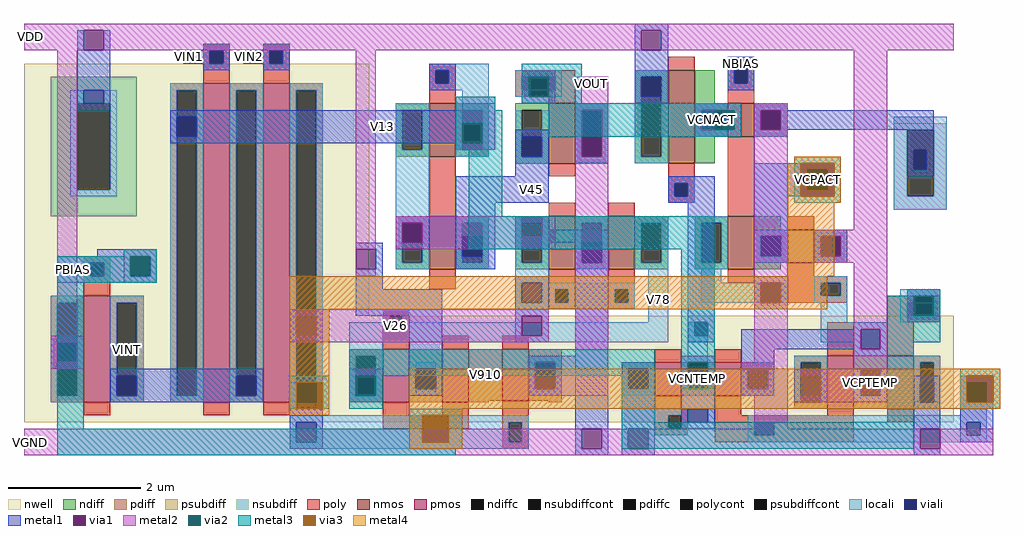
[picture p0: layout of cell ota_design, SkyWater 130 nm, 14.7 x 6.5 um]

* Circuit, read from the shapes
.subckt ota_design VDD VIN1 VIN2 VGND VOUT PBIAS NBIAS
XM1 V45 V13 VGND VGND sky130_fd_pr__nfet_01v8 w=0.8 l=0.4
XM2 V13 V13 VGND VGND sky130_fd_pr__nfet_01v8 w=0.8 l=0.4
XM3 VGND V26 V26 VGND sky130_fd_pr__nfet_01v8 w=0.8 l=0.4
XM4 VOUT VCNACT V45 VGND sky130_fd_pr__nfet_01v8 w=0.91 l=0.4
XM5 V78 V26 VGND VGND sky130_fd_pr__nfet_01v8 w=0.8 l=0.4
XM6 VCNACT VCNTEMP VDD VGND sky130_fd_pr__nfet_01v8 w=1.4 l=0.4
XM7 VCPACT NBIAS VGND VGND sky130_fd_pr__nfet_01v8 w=0.8 l=0.4
XM8 VGND NBIAS VCNACT VGND sky130_fd_pr__nfet_01v8 w=0.5 l=0.4
XM9 VDD VCPTEMP VCPACT VGND sky130_fd_pr__nfet_01v8 w=0.5 l=0.4
XM10 VINT PBIAS VDD VDD sky130_fd_pr__pfet_01v8 w=1.6 l=0.4
XM11 VINT VIN1 V13 VDD sky130_fd_pr__pfet_01v8 w=4.8 l=0.4
XM12 V26 VIN2 VINT VDD sky130_fd_pr__pfet_01v8 w=4.8 l=0.4
XM13 VDD V78 V78 VDD sky130_fd_pr__pfet_01v8 w=0.8 l=0.4
XM14 V910 V78 VDD VDD sky130_fd_pr__pfet_01v8 w=0.8 l=0.4
XM15 VOUT VCPACT V910 VDD sky130_fd_pr__pfet_01v8 w=0.78 l=0.4
XM16 VCNTEMP V13 VGND VDD sky130_fd_pr__pfet_01v8 w=0.5 l=0.4
XM17 VDD PBIAS VCNTEMP VDD sky130_fd_pr__pfet_01v8 w=0.5 l=0.4
XM18 VCPTEMP PBIAS VDD VDD sky130_fd_pr__pfet_01v8 w=0.8 l=0.4
XM19 VGND V78 VCPTEMP VDD sky130_fd_pr__pfet_01v8 w=0.8 l=0.4
.ends

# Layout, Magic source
magic
tech sky130A
<< nwell >>
rect 0 210 520 590
rect 0 50 1400 210
<< nmos >>
rect 610 450 650 530
rect 790 439 830 530
rect 970 440 1010 580
rect 1060 480 1100 530
rect 610 280 650 360
rect 790 280 830 360
rect 880 280 920 360
rect 1060 280 1100 360
rect 1150 290 1190 340
<< pmos >>
rect 90 80 130 240
rect 270 80 310 560
rect 360 80 400 560
rect 540 80 580 160
rect 630 80 670 160
rect 720 82 760 160
rect 950 90 990 140
rect 1040 90 1080 140
rect 1210 70 1250 150
rect 1300 70 1340 150
<< ndiff >>
rect 920 570 970 580
rect 560 520 610 530
rect 560 460 570 520
rect 600 460 610 520
rect 560 450 610 460
rect 650 520 700 530
rect 650 460 660 520
rect 690 460 700 520
rect 650 450 700 460
rect 740 520 790 530
rect 740 450 750 520
rect 780 450 790 520
rect 740 439 790 450
rect 830 520 880 530
rect 830 450 840 520
rect 870 450 880 520
rect 830 439 880 450
rect 920 450 930 570
rect 960 450 970 570
rect 920 440 970 450
rect 1010 530 1040 580
rect 1010 520 1060 530
rect 1010 490 1020 520
rect 1050 490 1060 520
rect 1010 480 1060 490
rect 1100 520 1150 530
rect 1100 490 1110 520
rect 1140 490 1150 520
rect 1100 480 1150 490
rect 1010 440 1040 480
rect 560 350 610 360
rect 560 290 570 350
rect 600 290 610 350
rect 560 280 610 290
rect 650 350 700 360
rect 650 290 660 350
rect 690 290 700 350
rect 650 280 700 290
rect 740 350 790 360
rect 740 290 750 350
rect 780 290 790 350
rect 740 280 790 290
rect 830 350 880 360
rect 830 290 840 350
rect 870 290 880 350
rect 830 280 880 290
rect 920 350 970 360
rect 920 290 930 350
rect 960 290 970 350
rect 920 280 970 290
rect 1010 350 1060 360
rect 1010 290 1020 350
rect 1050 290 1060 350
rect 1010 280 1060 290
rect 1100 340 1140 360
rect 1100 330 1150 340
rect 1100 300 1110 330
rect 1140 300 1150 330
rect 1100 290 1150 300
rect 1190 330 1240 340
rect 1190 300 1200 330
rect 1230 300 1240 330
rect 1190 290 1240 300
rect 1100 280 1140 290
<< pdiff >>
rect 220 550 270 560
rect 40 230 90 240
rect 40 90 50 230
rect 80 90 90 230
rect 40 80 90 90
rect 130 230 180 240
rect 130 90 140 230
rect 170 90 180 230
rect 130 80 180 90
rect 220 90 230 550
rect 260 90 270 550
rect 220 80 270 90
rect 310 550 360 560
rect 310 90 320 550
rect 350 90 360 550
rect 310 80 360 90
rect 400 550 450 560
rect 400 90 410 550
rect 440 90 450 550
rect 400 80 450 90
rect 490 150 540 160
rect 490 90 500 150
rect 530 90 540 150
rect 490 80 540 90
rect 580 130 630 160
rect 580 100 590 130
rect 620 100 630 130
rect 580 80 630 100
rect 670 82 720 160
rect 760 140 810 160
rect 1160 140 1210 150
rect 760 100 770 140
rect 800 100 810 140
rect 760 82 810 100
rect 900 130 950 140
rect 900 100 910 130
rect 940 100 950 130
rect 900 90 950 100
rect 990 130 1040 140
rect 990 100 1000 130
rect 1030 100 1040 130
rect 990 90 1040 100
rect 1080 130 1130 140
rect 1080 100 1090 130
rect 1120 100 1130 130
rect 1080 90 1130 100
rect 670 80 700 82
rect 790 80 810 82
rect 1160 80 1170 140
rect 1200 80 1210 140
rect 1160 70 1210 80
rect 1250 130 1300 150
rect 1250 90 1260 130
rect 1290 90 1300 130
rect 1250 70 1300 90
rect 1340 140 1380 150
rect 1340 80 1350 140
rect 1370 80 1380 140
rect 1340 70 1380 80
<< ndiffc >>
rect 570 460 600 520
rect 660 460 690 520
rect 750 450 780 520
rect 840 450 870 520
rect 930 450 960 570
rect 1020 490 1050 520
rect 1110 490 1140 520
rect 570 290 600 350
rect 660 290 690 350
rect 750 290 780 350
rect 840 290 870 350
rect 930 290 960 350
rect 1020 290 1050 350
rect 1110 300 1140 330
rect 1200 300 1230 330
<< pdiffc >>
rect 50 90 80 230
rect 140 90 170 230
rect 230 90 260 550
rect 320 90 350 550
rect 410 90 440 550
rect 500 90 530 150
rect 590 100 620 130
rect 770 100 800 140
rect 910 100 940 130
rect 1000 100 1030 130
rect 1090 100 1120 130
rect 1170 80 1200 140
rect 1260 90 1290 130
rect 1350 80 1370 140
<< psubdiff >>
rect 1310 490 1390 500
rect 1310 390 1330 490
rect 1370 390 1390 490
rect 1310 370 1390 390
<< nsubdiff >>
rect 40 530 170 570
rect 40 400 80 530
rect 130 400 170 530
rect 40 360 170 400
<< psubdiffcont >>
rect 1330 390 1370 490
<< nsubdiffcont >>
rect 80 400 130 530
<< poly >>
rect 270 610 310 620
rect 270 590 280 610
rect 300 590 310 610
rect 270 560 310 590
rect 360 610 400 620
rect 360 590 370 610
rect 390 590 400 610
rect 360 560 400 590
rect 610 580 650 590
rect 970 580 1010 600
rect 1060 590 1100 600
rect 610 560 620 580
rect 640 560 650 580
rect 90 290 130 300
rect 90 270 100 290
rect 120 270 130 290
rect 90 240 130 270
rect 610 530 650 560
rect 740 570 830 580
rect 740 550 750 570
rect 800 550 830 570
rect 740 540 830 550
rect 790 530 830 540
rect 610 360 650 450
rect 1060 560 1070 590
rect 1090 560 1100 590
rect 1060 530 1100 560
rect 790 420 830 439
rect 970 410 1010 440
rect 970 390 980 410
rect 1000 390 1010 410
rect 970 380 1010 390
rect 790 360 830 380
rect 880 360 920 380
rect 1060 360 1100 480
rect 1150 340 1190 360
rect 610 250 650 280
rect 790 250 830 280
rect 790 230 800 250
rect 820 230 830 250
rect 790 220 830 230
rect 880 250 920 280
rect 1060 260 1100 280
rect 1150 270 1190 290
rect 1150 260 1240 270
rect 880 230 890 250
rect 910 230 920 250
rect 1150 240 1200 260
rect 1230 240 1240 260
rect 1150 230 1240 240
rect 1300 230 1380 240
rect 880 220 920 230
rect 540 210 580 220
rect 540 190 550 210
rect 570 190 580 210
rect 1300 210 1330 230
rect 1370 210 1380 230
rect 1300 200 1380 210
rect 540 160 580 190
rect 630 160 670 180
rect 720 160 760 180
rect 950 140 990 160
rect 1040 140 1080 160
rect 1210 150 1250 200
rect 1300 150 1340 200
rect 90 60 130 80
rect 270 60 310 80
rect 360 60 400 80
rect 540 60 580 80
rect 630 60 670 80
rect 540 40 670 60
rect 720 50 760 82
rect 720 20 730 50
rect 750 20 760 50
rect 950 70 990 90
rect 950 60 1000 70
rect 950 40 970 60
rect 990 40 1000 60
rect 950 30 1000 40
rect 1040 60 1080 90
rect 1210 60 1250 70
rect 1040 50 1250 60
rect 1300 50 1340 70
rect 1040 30 1100 50
rect 1130 30 1250 50
rect 1040 20 1250 30
rect 720 10 760 20
<< polycont >>
rect 280 590 300 610
rect 370 590 390 610
rect 620 560 640 580
rect 100 270 120 290
rect 750 550 800 570
rect 1070 560 1090 590
rect 980 390 1000 410
rect 800 230 820 250
rect 890 230 910 250
rect 1200 240 1230 260
rect 550 190 570 210
rect 1330 210 1370 230
rect 730 20 750 50
rect 970 40 990 60
rect 1100 30 1130 50
<< locali >>
rect 270 610 310 620
rect 270 590 280 610
rect 300 590 310 610
rect 270 580 310 590
rect 360 610 400 620
rect 360 590 370 610
rect 390 590 400 610
rect 1060 590 1100 600
rect 360 580 400 590
rect 610 580 700 590
rect 610 560 620 580
rect 640 560 700 580
rect 220 550 270 560
rect 70 530 90 550
rect 120 530 140 550
rect 70 400 80 530
rect 130 400 140 530
rect 70 390 140 400
rect 90 290 130 300
rect 90 270 100 290
rect 120 270 130 290
rect 90 260 130 270
rect 40 230 90 240
rect 40 90 50 230
rect 80 90 90 230
rect 40 80 90 90
rect 130 230 180 240
rect 130 90 140 230
rect 170 90 180 230
rect 130 80 180 90
rect 220 90 230 550
rect 260 90 270 550
rect 220 80 270 90
rect 310 550 360 560
rect 310 90 320 550
rect 350 90 360 550
rect 310 80 360 90
rect 400 550 450 560
rect 610 550 700 560
rect 400 90 410 550
rect 440 90 450 550
rect 660 530 700 550
rect 740 570 810 580
rect 740 550 750 570
rect 800 550 810 570
rect 740 540 760 550
rect 790 540 810 550
rect 920 570 970 580
rect 560 520 610 530
rect 560 460 570 520
rect 600 460 610 520
rect 560 350 610 460
rect 650 520 700 530
rect 830 520 880 530
rect 650 460 660 520
rect 690 460 700 520
rect 650 450 700 460
rect 740 450 750 520
rect 780 450 790 520
rect 740 439 790 450
rect 830 450 840 520
rect 870 450 880 520
rect 830 440 880 450
rect 920 450 930 570
rect 960 450 970 570
rect 1060 560 1070 590
rect 1090 560 1100 590
rect 1060 550 1100 560
rect 1010 520 1060 530
rect 1010 490 1020 520
rect 1050 490 1060 520
rect 1010 480 1060 490
rect 1100 520 1150 530
rect 1100 490 1110 520
rect 1140 490 1150 520
rect 1100 480 1150 490
rect 1310 490 1390 510
rect 920 440 970 450
rect 970 410 1010 420
rect 970 390 980 410
rect 1000 390 1010 410
rect 970 380 1010 390
rect 1310 390 1330 490
rect 1370 390 1390 490
rect 1310 370 1390 390
rect 560 290 570 350
rect 600 290 610 350
rect 560 280 610 290
rect 650 350 700 360
rect 650 290 660 350
rect 690 290 700 350
rect 650 280 700 290
rect 740 350 790 360
rect 740 290 750 350
rect 780 290 790 350
rect 740 260 790 290
rect 830 350 880 360
rect 830 290 840 350
rect 870 290 880 350
rect 830 280 880 290
rect 920 350 970 360
rect 920 290 930 350
rect 960 290 970 350
rect 920 280 970 290
rect 1010 350 1060 360
rect 1010 290 1020 350
rect 1050 290 1060 350
rect 1100 330 1150 340
rect 1100 300 1110 330
rect 1140 300 1150 330
rect 1100 290 1150 300
rect 1190 330 1240 340
rect 1190 300 1200 330
rect 1230 300 1240 330
rect 1190 290 1240 300
rect 1010 280 1060 290
rect 740 230 750 260
rect 780 250 920 260
rect 780 230 800 250
rect 820 230 890 250
rect 910 230 920 250
rect 740 220 920 230
rect 540 210 580 220
rect 540 200 550 210
rect 400 80 450 90
rect 490 190 550 200
rect 570 200 580 210
rect 940 200 970 280
rect 1020 260 1050 280
rect 1190 260 1240 270
rect 1020 230 1110 260
rect 1140 230 1150 260
rect 1190 240 1200 260
rect 1230 240 1240 260
rect 1190 230 1240 240
rect 1200 200 1240 230
rect 1320 240 1380 250
rect 1320 230 1340 240
rect 1320 210 1330 230
rect 1370 210 1380 240
rect 1320 200 1380 210
rect 570 190 970 200
rect 490 170 970 190
rect 1000 180 1010 200
rect 490 150 540 170
rect 490 90 500 150
rect 530 90 540 150
rect 760 140 810 150
rect 1000 140 1030 180
rect 1200 170 1300 200
rect 1160 140 1210 150
rect 590 130 620 140
rect 590 90 620 100
rect 760 100 770 140
rect 800 100 810 140
rect 760 90 810 100
rect 900 130 950 140
rect 900 100 910 130
rect 940 100 950 130
rect 900 90 950 100
rect 990 130 1040 140
rect 990 100 1000 130
rect 1030 100 1040 130
rect 990 90 1040 100
rect 1080 130 1130 140
rect 1080 100 1090 130
rect 1120 100 1130 130
rect 1080 90 1130 100
rect 490 80 540 90
rect 1160 80 1170 140
rect 1200 80 1210 140
rect 1250 130 1300 170
rect 1250 90 1260 130
rect 1290 90 1300 130
rect 1250 80 1300 90
rect 1340 140 1380 150
rect 1340 80 1350 140
rect 1370 80 1380 140
rect 950 60 1000 70
rect 400 50 760 60
rect 400 20 410 50
rect 440 20 730 50
rect 750 20 760 50
rect 950 40 970 60
rect 990 40 1000 60
rect 1030 50 1040 70
rect 1410 60 1450 70
rect 1090 50 1450 60
rect 950 30 1000 40
rect 1090 30 1100 50
rect 1130 30 1420 50
rect 1440 30 1450 50
rect 1090 20 1450 30
rect 400 10 760 20
<< viali >>
rect 280 590 300 610
rect 370 590 390 610
rect 620 560 640 580
rect 90 530 120 550
rect 100 270 120 290
rect 50 140 80 170
rect 140 90 170 120
rect 230 480 260 510
rect 320 90 350 120
rect 410 180 440 210
rect 760 550 790 570
rect 760 540 790 550
rect 660 470 690 500
rect 750 450 780 480
rect 840 450 870 520
rect 930 540 960 570
rect 1070 560 1090 590
rect 1020 490 1050 520
rect 1110 490 1140 520
rect 980 390 1000 410
rect 1340 430 1360 460
rect 570 320 600 350
rect 660 300 690 330
rect 840 290 870 320
rect 1110 300 1140 330
rect 1200 300 1230 330
rect 750 230 780 260
rect 1110 230 1140 260
rect 1340 230 1370 240
rect 1340 210 1370 230
rect 1010 180 1030 200
rect 500 90 530 120
rect 590 100 620 130
rect 770 100 800 140
rect 910 100 940 130
rect 1090 100 1120 130
rect 1170 90 1200 120
rect 1350 80 1370 110
rect 410 20 440 50
rect 1000 50 1030 70
rect 1420 30 1440 50
<< metal1 >>
rect 920 640 970 650
rect 80 610 90 640
rect 120 610 130 640
rect 270 610 310 620
rect 360 610 400 620
rect 80 550 130 610
rect 240 590 280 610
rect 300 590 310 610
rect 330 590 370 610
rect 390 590 400 610
rect 920 610 930 640
rect 960 610 970 640
rect 270 580 310 590
rect 360 580 400 590
rect 610 580 650 590
rect 610 560 620 580
rect 640 560 650 580
rect 610 550 650 560
rect 750 570 800 580
rect 80 530 90 550
rect 120 530 130 550
rect 750 540 760 570
rect 790 540 800 570
rect 750 530 800 540
rect 920 570 970 610
rect 920 540 930 570
rect 960 540 970 570
rect 1060 590 1100 600
rect 1060 560 1070 590
rect 1090 560 1100 590
rect 1060 550 1100 560
rect 920 530 970 540
rect 80 520 130 530
rect 660 520 710 530
rect 220 510 710 520
rect 220 480 230 510
rect 260 500 710 510
rect 260 480 660 500
rect 220 470 660 480
rect 690 470 710 500
rect 830 520 880 530
rect 650 460 710 470
rect 740 480 790 490
rect 740 450 750 480
rect 780 450 790 480
rect 740 420 790 450
rect 830 450 840 520
rect 870 450 880 520
rect 1010 520 1060 530
rect 1010 490 1020 520
rect 1050 490 1060 520
rect 1010 480 1060 490
rect 1100 520 1150 530
rect 1100 490 1110 520
rect 1140 490 1370 520
rect 1100 480 1150 490
rect 830 440 880 450
rect 1330 460 1370 490
rect 1100 430 1220 440
rect 650 380 790 420
rect 970 410 1040 420
rect 970 390 980 410
rect 1000 390 1040 410
rect 970 380 1040 390
rect 560 350 610 360
rect 560 320 570 350
rect 600 320 610 350
rect 500 310 540 320
rect 560 310 610 320
rect 650 330 710 380
rect 110 300 200 310
rect 50 290 160 300
rect 50 270 100 290
rect 120 270 160 290
rect 190 270 200 300
rect 50 260 200 270
rect 530 280 540 310
rect 650 300 660 330
rect 690 300 710 330
rect 740 330 750 360
rect 780 340 790 360
rect 780 330 880 340
rect 740 320 880 330
rect 740 310 790 320
rect 650 280 710 300
rect 830 290 840 320
rect 870 290 880 320
rect 500 250 540 280
rect 740 260 790 270
rect 400 210 450 220
rect 500 210 630 250
rect 400 180 410 210
rect 440 180 450 210
rect 40 170 90 180
rect 400 170 450 180
rect 40 140 50 170
rect 80 140 90 170
rect 40 130 90 140
rect 580 130 630 210
rect 740 230 750 260
rect 780 230 790 260
rect 740 210 790 230
rect 740 180 750 210
rect 780 180 790 210
rect 740 170 790 180
rect 130 120 360 130
rect 130 90 140 120
rect 170 90 320 120
rect 350 90 360 120
rect 490 120 540 130
rect 130 80 360 90
rect 400 100 450 110
rect 400 70 410 100
rect 440 70 450 100
rect 490 90 500 120
rect 530 90 540 120
rect 580 100 590 130
rect 620 100 630 130
rect 580 90 630 100
rect 760 140 810 150
rect 760 100 770 140
rect 800 100 810 140
rect 760 90 810 100
rect 490 80 540 90
rect 400 50 450 70
rect 400 20 410 50
rect 440 20 450 50
rect 400 10 450 20
rect 830 40 880 290
rect 1000 200 1040 380
rect 1100 400 1180 430
rect 1210 400 1220 430
rect 1330 430 1340 460
rect 1360 430 1370 460
rect 1330 420 1370 430
rect 1100 390 1220 400
rect 1100 330 1150 390
rect 1100 300 1110 330
rect 1140 300 1150 330
rect 1100 290 1150 300
rect 1190 330 1240 340
rect 1190 300 1200 330
rect 1230 300 1240 330
rect 1190 290 1240 300
rect 1100 260 1150 270
rect 1100 230 1110 260
rect 1140 230 1150 260
rect 1100 220 1150 230
rect 1330 240 1380 250
rect 1330 210 1340 240
rect 1370 210 1380 240
rect 1330 200 1380 210
rect 1000 180 1010 200
rect 1030 180 1040 200
rect 1250 190 1300 200
rect 1000 170 1040 180
rect 1080 160 1260 190
rect 1290 160 1300 190
rect 990 140 1040 150
rect 830 10 840 40
rect 870 10 880 40
rect 830 0 880 10
rect 900 130 950 140
rect 900 100 910 130
rect 940 100 950 130
rect 900 40 950 100
rect 990 110 1000 140
rect 1030 110 1040 140
rect 990 70 1040 110
rect 1080 130 1130 160
rect 1250 150 1300 160
rect 1080 100 1090 130
rect 1120 100 1130 130
rect 1080 90 1130 100
rect 1160 120 1210 130
rect 1160 90 1170 120
rect 1200 90 1210 120
rect 1160 80 1210 90
rect 1340 110 1380 120
rect 1340 80 1350 110
rect 1370 80 1380 110
rect 990 50 1000 70
rect 1030 50 1040 70
rect 990 40 1040 50
rect 1340 40 1380 80
rect 900 10 910 40
rect 940 10 950 40
rect 900 0 950 10
rect 1340 10 1350 40
rect 1410 110 1460 120
rect 1410 80 1420 110
rect 1450 80 1460 110
rect 1410 50 1460 80
rect 1410 30 1420 50
rect 1440 30 1460 50
rect 1410 20 1460 30
rect 1340 0 1380 10
<< via1 >>
rect 90 610 120 640
rect 930 610 960 640
rect 760 540 790 570
rect 660 470 690 500
rect 840 450 870 520
rect 1020 490 1050 520
rect 1110 490 1140 520
rect 570 320 600 350
rect 160 270 190 300
rect 500 280 530 310
rect 750 330 780 360
rect 410 180 440 210
rect 50 140 80 170
rect 750 180 780 210
rect 410 70 440 100
rect 500 90 530 120
rect 770 100 800 140
rect 1180 400 1210 430
rect 1200 300 1230 330
rect 1110 230 1140 260
rect 1340 210 1370 240
rect 1260 160 1290 190
rect 840 10 870 40
rect 1000 110 1030 140
rect 1170 90 1200 120
rect 910 10 940 40
rect 1350 10 1380 40
rect 1420 80 1450 110
<< metal2 >>
rect 0 640 1400 650
rect 0 610 90 640
rect 120 610 930 640
rect 960 610 1400 640
rect 50 180 80 610
rect 500 310 530 610
rect 750 570 800 580
rect 750 540 760 570
rect 790 540 800 570
rect 650 500 710 540
rect 750 530 800 540
rect 650 470 660 500
rect 690 470 710 500
rect 650 460 710 470
rect 830 520 880 570
rect 830 450 840 520
rect 870 450 880 520
rect 1010 520 1080 530
rect 1010 490 1020 520
rect 1070 490 1080 520
rect 1010 480 1080 490
rect 1100 520 1150 530
rect 1100 490 1110 520
rect 1140 490 1150 520
rect 560 350 750 360
rect 560 320 570 350
rect 600 330 750 350
rect 780 330 800 360
rect 600 320 800 330
rect 560 310 800 320
rect 150 300 200 310
rect 150 270 160 300
rect 190 270 200 300
rect 500 270 530 280
rect 150 260 200 270
rect 400 210 790 220
rect 400 180 410 210
rect 440 180 750 210
rect 780 180 790 210
rect 40 170 90 180
rect 400 170 790 180
rect 40 140 50 170
rect 80 140 90 170
rect 830 150 880 450
rect 1100 260 1150 490
rect 1170 430 1220 440
rect 1170 400 1180 430
rect 1210 400 1220 430
rect 1170 390 1220 400
rect 1250 340 1300 610
rect 1190 330 1300 340
rect 1190 300 1200 330
rect 1230 300 1300 330
rect 1190 290 1300 300
rect 1100 230 1110 260
rect 1140 230 1150 260
rect 40 130 90 140
rect 760 140 880 150
rect 490 120 540 130
rect 400 110 450 120
rect 400 70 410 110
rect 440 70 450 110
rect 490 90 500 120
rect 530 90 540 120
rect 760 100 770 140
rect 800 100 880 140
rect 990 140 1040 150
rect 1100 140 1150 230
rect 990 110 1000 140
rect 1030 110 1040 140
rect 990 100 1040 110
rect 760 90 880 100
rect 1080 90 1150 140
rect 1250 190 1300 290
rect 1330 240 1380 250
rect 1330 210 1340 240
rect 1370 210 1380 240
rect 1330 200 1380 210
rect 1250 160 1260 190
rect 1290 160 1300 190
rect 1250 130 1300 160
rect 490 80 540 90
rect 400 60 450 70
rect 1100 40 1150 90
rect 1170 120 1300 130
rect 1200 90 1300 120
rect 1170 80 1300 90
rect 1410 110 1460 120
rect 1410 80 1420 110
rect 1450 80 1460 110
rect 1410 70 1460 80
rect 0 10 840 40
rect 870 10 910 40
rect 940 10 1350 40
rect 1380 10 1460 40
rect 0 0 1460 10
<< via2 >>
rect 760 540 790 570
rect 660 470 690 500
rect 1040 490 1050 520
rect 1050 490 1070 520
rect 160 270 190 300
rect 1180 400 1210 430
rect 410 100 440 110
rect 410 80 440 100
rect 500 90 530 120
rect 1000 110 1030 140
rect 1340 210 1370 240
rect 1420 80 1450 110
<< metal3 >>
rect 750 570 840 590
rect 750 540 760 570
rect 790 540 840 570
rect 650 520 710 540
rect 750 530 840 540
rect 790 520 1080 530
rect 650 500 720 520
rect 650 470 660 500
rect 690 470 720 500
rect 790 490 1040 520
rect 1070 490 1080 520
rect 790 480 1080 490
rect 650 460 720 470
rect 670 360 720 460
rect 1160 440 1230 450
rect 1160 390 1170 440
rect 1220 390 1230 440
rect 1160 380 1230 390
rect 670 310 1040 360
rect 150 300 200 310
rect 50 270 160 300
rect 190 270 200 300
rect 50 260 200 270
rect 50 40 90 260
rect 490 120 950 160
rect 400 110 460 120
rect 400 70 410 110
rect 450 70 460 110
rect 490 90 500 120
rect 530 90 540 120
rect 490 70 540 90
rect 580 60 660 70
rect 580 40 600 60
rect 50 20 600 40
rect 640 20 660 60
rect 50 10 660 20
rect 900 50 950 120
rect 990 140 1040 310
rect 1330 240 1380 250
rect 990 110 1000 140
rect 1030 110 1040 140
rect 990 100 1040 110
rect 1300 210 1340 240
rect 1370 210 1380 240
rect 1300 170 1380 210
rect 1300 50 1340 170
rect 1410 120 1470 130
rect 1410 80 1420 120
rect 1460 80 1470 120
rect 1410 70 1470 80
rect 900 10 1340 50
rect 50 0 650 10
<< via3 >>
rect 1170 430 1220 440
rect 1170 400 1180 430
rect 1180 400 1210 430
rect 1210 400 1220 430
rect 1170 390 1220 400
rect 410 80 440 110
rect 440 80 450 110
rect 410 70 450 80
rect 600 20 640 60
rect 1420 110 1460 120
rect 1420 80 1450 110
rect 1450 80 1460 110
<< metal4 >>
rect 1160 440 1230 450
rect 1150 390 1170 440
rect 1220 390 1230 440
rect 1150 380 1230 390
rect 1150 270 1220 380
rect 400 220 1210 270
rect 400 110 460 220
rect 400 70 410 110
rect 450 70 460 110
rect 400 60 460 70
rect 580 120 1470 130
rect 580 80 1420 120
rect 1460 80 1470 120
rect 580 70 1470 80
rect 580 60 660 70
rect 580 20 600 60
rect 640 20 660 60
rect 580 10 660 20
<< labels >>
rlabel metal2 0 610 20 650 1 VDD
port 2 n
rlabel metal1 240 590 260 610 1 VIN1
port 3 n
rlabel metal1 330 590 350 610 1 VIN2
port 4 n
rlabel metal2 520 170 600 220 1 V26
rlabel metal1 740 380 790 420 1 V45
rlabel locali 940 210 970 260 1 V78
rlabel pdiff 670 82 720 160 1 V910
rlabel metal2 830 550 880 570 1 VOUT
port 6 n
rlabel metal1 50 260 100 300 1 PBIAS
port 7 n
rlabel ndiff 1010 480 1060 530 1 VCNACT
rlabel metal1 520 470 560 520 1 V13
rlabel pdiff 990 90 1040 140 1 VCNTEMP
rlabel metal1 1060 580 1100 600 1 NBIAS
port 8 n
rlabel pdiff 1250 70 1300 150 1 VCPTEMP
rlabel metal4 1160 380 1230 450 1 VCPACT
rlabel pdiffc 140 90 170 230 1 VINT
rlabel metal2 0 0 20 40 1 VGND
port 5 n
<< end >>
